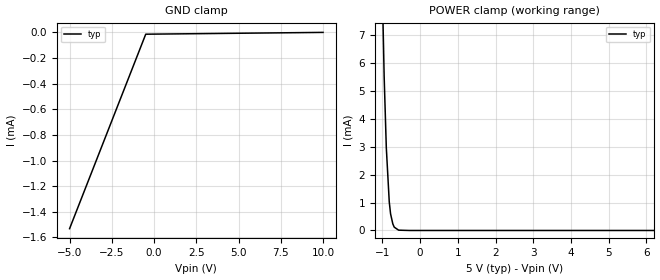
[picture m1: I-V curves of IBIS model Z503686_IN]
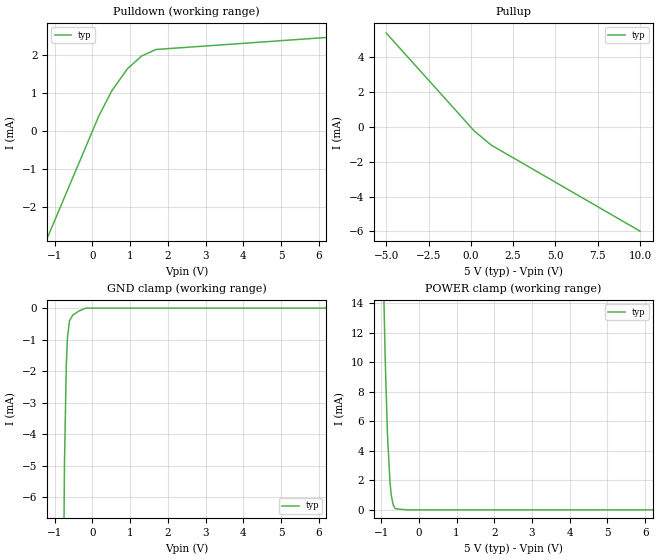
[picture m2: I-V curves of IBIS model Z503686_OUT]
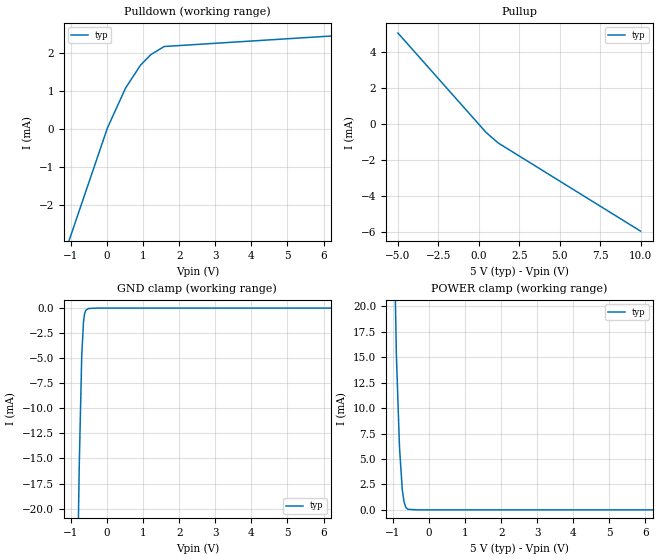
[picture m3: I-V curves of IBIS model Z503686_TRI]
| YOU ARE ONLY AUTHORIZED TO USE THIS SOFTWARE
| ACCORDING TO LICENSOR'S LICENSE RESTRICTIONS.
[IBIS Ver] 3.1
[File Name] mc14583bd.ibs
[File Rev] 2.0
[Source] Measured and created by ICX Technology
[Date] Friday 7/14/00 9:07:57 AM
[Copyright]
| (C) COPYRIGHT 1993-2000
| MENTOR GRAPHICS CORPORATION
| ICX STANDARD LIBRARY, ICX PROJECT MODELING,
| ICX CUSTOM MODELING, ICX VENDOR MODEL
| ALL RIGHTS RESERVED.
| THE FOLLOWING ARE TRADEMARKS OR SERVICE MARKS OF
| MENTOR GRAPHICS CORPORATION:ICX (R), ICX STANDARD
| LIBRARY(R), ICX PROJECT MODELING(R), ICX CUSTOM
| MODELING(R), qualityIBIS(TM), MODELVIEWER(TM),
| AND MODELEDITOR(TM)
| ALL COPIES OF SOFTWARE, INCLUDING BUT NOT LIMITED TO
| ANY MODIFICATIONS, ENHANCEMENTS OR DERIVATIVE WORKS,
| MUST CONTAIN ALL MENTOR GRAPHICS CORPORATION'S
| NOTICES AND LEGENDS, INCLUDING THOSE EMBEDDED IN
| SOFTWARE AND THOSE AFFIXED TO SOFTWARE MEDIUM
| AND CONTAINER, AS RECEIVED FROM MENTOR GRAPHICS
| CORPORATION.
|  ZAP Model Builder 2.7
[Component] MC14583BD
[Manufacturer] OnSemiconductor
[Package]
| variable   typ   min   max
R_pkg  .156ohms NA NA
L_pkg  3.148nH NA NA
C_pkg  .388pF NA NA
[Pin] signal_name  model_name  R_pin  L_pin C_pin
1 BCOM Z503686_IN .162 3.798n .418p
2 BPOS Z503686_IN .158 3.358n .398p
3 BNEG Z503686_IN .154 2.928n .378p
4 AOUT Z503686_OUT .15 2.508n .358p
5 ANEG Z503686_IN .15 2.508n .358p
6 APOS Z503686_IN .154 2.928n .378p
7 ACOM Z503686_IN .158 3.358n .398p
8 VSS POWER .162 3.798n .418p
9 AIN Z503686_IN .162 3.798n .418p
10 BOUT Z503686_OUT .158 3.358n .398p
11 _AOUT Z503686_TRI .154 2.928n .378p
12 _BOUT Z503686_TRI .15 2.508n .358p
13 _DIS Z503686_IN .15 2.508n .358p
14 XOR Z503686_OUT .154 2.928n .378p
15 BIN Z503686_IN .158 3.358n .398p
16 VDD POWER .162 3.798n .418p
| Models and submodels in the file (3): Z503686_IN (Input), Z503686_OUT (Output), Z503686_TRI (3-state)
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| (C) COPYRIGHT 1993-2000
| MENTOR GRAPHICS CORPORATION
| ICX STANDARD LIBRARY, ICX PROJECT MODELING,
| ICX CUSTOM MODELING, ICX VENDOR MODEL
| ALL RIGHTS RESERVED.
| THE FOLLOWING ARE TRADEMARKS OR SERVICE MARKS OF
| MENTOR GRAPHICS CORPORATION:ICX (R), ICX STANDARD
| LIBRARY(R), ICX PROJECT MODELING(R), ICX CUSTOM
| MODELING(R), qualityIBIS(TM), MODELVIEWER(TM),
| AND MODELEDITOR(TM)
| ALL COPIES OF SOFTWARE, INCLUDING BUT NOT LIMITED TO
| ANY MODIFICATIONS, ENHANCEMENTS OR DERIVATIVE WORKS,
| MUST CONTAIN ALL MENTOR GRAPHICS CORPORATION'S
| NOTICES AND LEGENDS, INCLUDING THOSE EMBEDDED IN
| SOFTWARE AND THOSE AFFIXED TO SOFTWARE MEDIUM
| AND CONTAINER, AS RECEIVED FROM MENTOR GRAPHICS
| CORPORATION.
| Model Application Version 1.89 2/18/99.
[Model] Z503686_IN
Model_type Input
Vinl = 1.500V
Vinh = 3.500V
C_comp 4.000pF NA NA
| variable typ   min   max
[Voltage Range] 5.000V NA NA
[GND Clamp Reference] 0.000V NA NA
[POWER Clamp Reference] 5.000V NA NA
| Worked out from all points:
|   POWER clamp passes 1 mA (typ) near -0.82 V on its own axis
[GND Clamp]
-5V       -1.532mA   NA         NA
-493.1mV  -13.29uA   NA         NA
10V       798.8nA    NA         NA
[POWER Clamp]
-5V       337.4mA    NA         NA
-1.015V   9.348mA    NA         NA
-955mV    5.506mA    NA         NA
-898mV    2.965mA    NA         NA
-820mV    1.026mA    NA         NA
-785mV    595.8uA    NA         NA
-725mV    235.5uA    NA         NA
-688mV    119.5uA    NA         NA
-571mV    11.07uA    NA         NA
-285.5mV  0A         NA         NA
10V       0A         NA         NA
| (C) COPYRIGHT 1993-2000
| MENTOR GRAPHICS CORPORATION
| ICX STANDARD LIBRARY, ICX PROJECT MODELING,
| ICX CUSTOM MODELING, ICX VENDOR MODEL
| ALL RIGHTS RESERVED.
| THE FOLLOWING ARE TRADEMARKS OR SERVICE MARKS OF
| MENTOR GRAPHICS CORPORATION:ICX (R), ICX STANDARD
| LIBRARY(R), ICX PROJECT MODELING(R), ICX CUSTOM
| MODELING(R), qualityIBIS(TM), MODELVIEWER(TM),
| AND MODELEDITOR(TM)
| ALL COPIES OF SOFTWARE, INCLUDING BUT NOT LIMITED TO
| ANY MODIFICATIONS, ENHANCEMENTS OR DERIVATIVE WORKS,
| MUST CONTAIN ALL MENTOR GRAPHICS CORPORATION'S
| NOTICES AND LEGENDS, INCLUDING THOSE EMBEDDED IN
| SOFTWARE AND THOSE AFFIXED TO SOFTWARE MEDIUM
| AND CONTAINER, AS RECEIVED FROM MENTOR GRAPHICS
| CORPORATION.
| Model Application Version 1.89 2/18/99.
[Model] Z503686_OUT
Model_type Output
Vref=0.000V
Rref=500.0Mohms
Cref=50.00pF
Vmeas=2.500V
C_comp 8.000pF NA NA
| variable typ   min   max
[Voltage Range] 5.000V NA NA
[POWER Clamp Reference] 5.000V NA NA
[Pullup Reference] 5.000V NA NA
[Pulldown Reference] 0.000V NA NA
[GND Clamp Reference] 0.000V NA NA
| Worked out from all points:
|   slope of the pulldown table from 0 to 0.75 V, typ, clamps not added: 541 ohm
|   slope of the pullup table from 0 to 0.75 V, typ, clamps not added: 1.13 kohm
|   GND clamp passes 1 mA (typ) near -0.66 V on its own axis
|   POWER clamp passes 1 mA (typ) near -0.73 V on its own axis
[GND Clamp]
-5V       -623.1mA   NA         NA
-741.8mV  -4.925mA   NA         NA
-694mV    -1.824mA   NA         NA
-661.4mV  -910.2uA   NA         NA
-608.7mV  -401.8uA   NA         NA
-517mV    -215uA     NA         NA
-361.3mV  -98.01uA   NA         NA
-180.6mV  0A         NA         NA
10V       0A         NA         NA
[Pulldown]
-5V       -11.73mA   NA         NA
166mV     388.2uA    NA         NA
516.1mV   1.059mA    NA         NA
927.7mV   1.632mA    NA         NA
1.304V    1.968mA    NA         NA
1.683V    2.138mA    NA         NA
10V       2.719mA    NA         NA
[Pullup]
-5V       5.4mA      NA         NA
205mV     -234.4uA   NA         NA
1.212V    -1.048mA   NA         NA
10V       -5.992mA   NA         NA
[POWER Clamp]
-5V       512mA      NA         NA
-894mV    10.52mA    NA         NA
-830mV    5.049mA    NA         NA
-763mV    1.826mA    NA         NA
-730mV    993.3uA    NA         NA
-679mV    325.5uA    NA         NA
-624mV    78.52uA    NA         NA
-312mV    0A         NA         NA
10V       0A         NA         NA
[Ramp]
| variable typ min max
dV/dt_r 1.981/29.06n NA NA
dV/dt_f 1.981/30.34n NA NA
R_load = 2.500kOhms
| (C) COPYRIGHT 1993-2000
| MENTOR GRAPHICS CORPORATION
| ICX STANDARD LIBRARY, ICX PROJECT MODELING,
| ICX CUSTOM MODELING, ICX VENDOR MODEL
| ALL RIGHTS RESERVED.
| THE FOLLOWING ARE TRADEMARKS OR SERVICE MARKS OF
| MENTOR GRAPHICS CORPORATION:ICX (R), ICX STANDARD
| LIBRARY(R), ICX PROJECT MODELING(R), ICX CUSTOM
| MODELING(R), qualityIBIS(TM), MODELVIEWER(TM),
| AND MODELEDITOR(TM)
| ALL COPIES OF SOFTWARE, INCLUDING BUT NOT LIMITED TO
| ANY MODIFICATIONS, ENHANCEMENTS OR DERIVATIVE WORKS,
| MUST CONTAIN ALL MENTOR GRAPHICS CORPORATION'S
| NOTICES AND LEGENDS, INCLUDING THOSE EMBEDDED IN
| SOFTWARE AND THOSE AFFIXED TO SOFTWARE MEDIUM
| AND CONTAINER, AS RECEIVED FROM MENTOR GRAPHICS
| CORPORATION.
| Model Application Version 1.89 2/18/99.
[Model] Z503686_TRI
Model_type 3-state
Vref=0.000V
Rref=500.0Mohms
Cref=50.00pF
Vmeas=2.500V
C_comp 8.000pF NA NA
| variable typ   min   max
[Voltage Range] 5.000V NA NA
[POWER Clamp Reference] 5.000V NA NA
[Pullup Reference] 5.000V NA NA
[Pulldown Reference] 0.000V NA NA
[GND Clamp Reference] 0.000V NA NA
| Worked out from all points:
|   slope of the pulldown table from 0 to 0.75 V, typ, clamps not added: 526 ohm
|   slope of the pullup table from 0 to 0.75 V, typ, clamps not added: 1.08 kohm
|   GND clamp passes 1 mA (typ) near -0.64 V on its own axis
|   POWER clamp passes 1 mA (typ) near -0.70 V on its own axis
[GND Clamp]
-5V       -975.2mA   NA         NA
-771mV    -15.48mA   NA         NA
-702.9mV  -4.687mA   NA         NA
-654.3mV  -1.367mA   NA         NA
-624.7mV  -557.2uA   NA         NA
-590.4mV  -219uA     NA         NA
-515.7mV  -41.69uA   NA         NA
-257.8mV  0A         NA         NA
10V       0A         NA         NA
[Pulldown]
-5V       -13.96mA   NA         NA
9.766mV   35.36uA    NA         NA
516.1mV   1.093mA    NA         NA
927.5mV   1.691mA    NA         NA
1.207V    1.964mA    NA         NA
1.583V    2.182mA    NA         NA
10V       2.685mA    NA         NA
[Pullup]
-5V       5.075mA    NA         NA
460mV     -467.4uA   NA         NA
1.212V    -1.052mA   NA         NA
10V       -5.951mA   NA         NA
[POWER Clamp]
-5V       820.2mA    NA         NA
-907mV    15.25mA    NA         NA
-820mV    6.14mA     NA         NA
-742mV    1.936mA    NA         NA
-693mV    765uA      NA         NA
-641mV    223.8uA    NA         NA
-586mV    51.2uA     NA         NA
-293mV    0A         NA         NA
10V       0A         NA         NA
[Ramp]
| variable typ min max
dV/dt_r 1.984/54.20n NA NA
dV/dt_f 1.984/46.63n NA NA
R_load = 2.500kOhms
